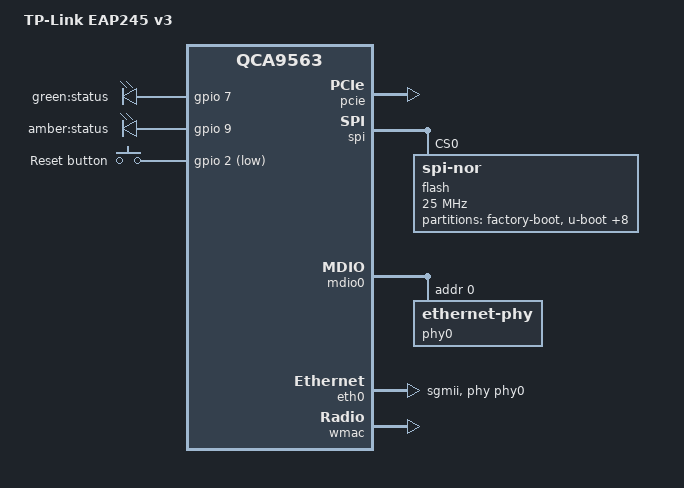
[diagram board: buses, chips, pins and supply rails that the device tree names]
// SPDX-License-Identifier: GPL-2.0-or-later OR MIT

#include "qca956x.dtsi"

#include <dt-bindings/gpio/gpio.h>
#include <dt-bindings/input/input.h>

/ {
	compatible = "tplink,eap245-v3", "qca,qca9563";
	model = "TP-Link EAP245 v3";

	aliases {
		led-boot = &led_status_green;
		led-failsafe = &led_status_amber;
		led-running = &led_status_green;
		led-upgrade = &led_status_amber;
		label-mac-device = &eth0;
	};

	leds {
		compatible = "gpio-leds";

		led_status_green: status_green {
			label = "green:status";
			gpios = <&gpio 7 GPIO_ACTIVE_HIGH>;
			default-state = "on";
		};

		led_status_amber: status_amber {
			label = "amber:status";
			gpios = <&gpio 9 GPIO_ACTIVE_HIGH>;
		};
	};

	keys {
		compatible = "gpio-keys";

		reset {
			label = "Reset button";
			linux,code = <KEY_RESTART>;
			gpios = <&gpio 2 GPIO_ACTIVE_LOW>;
			debounce-interval = <60>;
		};
	};
};

&pcie {
	status = "okay";
};

&spi {
	status = "okay";

	flash@0 {
		compatible = "jedec,spi-nor";
		reg = <0>;
		spi-max-frequency = <25000000>;

		partitions {
			compatible = "fixed-partitions";
			#address-cells = <1>;
			#size-cells = <1>;

			partition@0 {
				label = "factory-boot";
				reg = <0x000000 0x040000>;
				read-only;
			};

			partition@40000 {
				label = "u-boot";
				reg = <0x040000 0x040000>;
				read-only;
			};

			partition@80000 {
				label = "partition-table";
				reg = <0x080000 0x010000>;
				read-only;
			};

			info: partition@90000 {
				label = "info";
				reg = <0x090000 0x010000>;
				read-only;
			};

			art: partition@a0000 {
				label = "art";
				reg = <0x0a0000 0x010000>;
				read-only;
			};

			partition@b0000 {
				label = "extra-para";
				reg = <0x0b0000 0x010000>;
				read-only;
			};

			partition@c0000 {
				compatible = "openwrt,elf";
				label = "firmware";
				reg = <0x0c0000 0xe40000>;
			};

			partition@f00000 {
				label = "config";
				reg = <0xf00000 0x030000>;
				read-only;
			};

			partition@f30000 {
				label = "mutil-log";
				reg = <0xf30000 0x080000>;
				read-only;
			};

			partition@fb0000 {
				label = "oops";
				reg = <0xfb0000 0x040000>;
				read-only;
			};
		};
	};
};

&mdio0 {
	status = "okay";

	phy-mask = <0x1>;

	phy0: ethernet-phy@0 {
		reg = <0>;
		phy-mode = "sgmii";
		qca,ar8327-initvals = <
			0x04 0x00080080 /* PAD0 */
			0x7c 0x0000007e /* PORT0_STATUS */
			0xe0 0xc74164de /* SGMII_CTRL */
			>;
	};
};

&eth0 {
	status = "okay";

	phy-handle = <&phy0>;
	phy-mode = "sgmii";

	mtd-mac-address = <&info 0x8>;
};

&wmac {
	status = "okay";

	mtd-cal-data = <&art 0x1000>;
	mtd-mac-address = <&info 0x8>;
};
